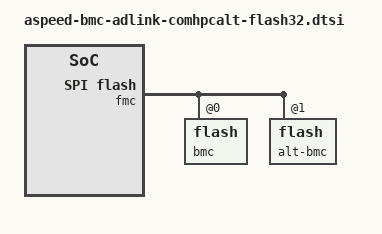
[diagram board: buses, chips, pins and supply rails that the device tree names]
&fmc {
	status = "okay";
	flash@0 {
		status = "okay";
		m25p,fast-read;
		label = "bmc";
#include "openbmc-flash-layout.dtsi"
	};

	flash@1 {
		status = "okay";
		m25p,fast-read;
		label = "alt-bmc";
#include "openbmc-flash-layout.dtsi"
	};
};

